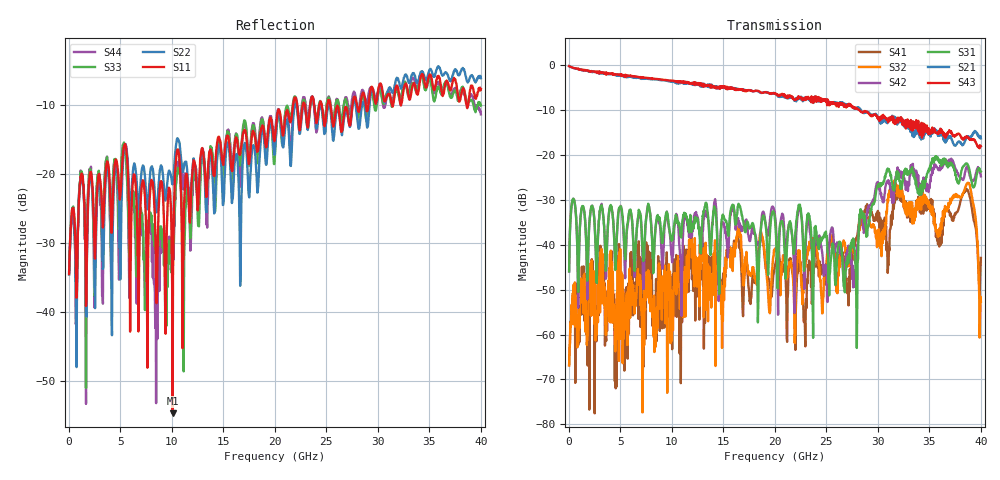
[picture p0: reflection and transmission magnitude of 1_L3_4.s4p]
! 7/15/2021 4:58:04 PM
! C:\USERS\VECTORSTARUSER\DESKTOP\SAMPLE\2021\PD7\18VPD7094DY\1-L3-4.S4P
! CHANNEL.1
! TR.MEASUREMENT
! CORRECTED.DATA
! RF.CORRECTION: FULL.FOUR.PORT.CAL.PORT.1.2.3.4
! AVERAGING.OFF
! IF.BANDWIDTH: 1KHZ
! SWEEPTYPE:  FREQ.SWEEP(Linear)
! Reference Plane Port Info
! PORT:  PORT1  PORT2  PORT3  PORT4
! DISTANCE:  0  m  0  m  0  m  0  m
! TIME:  0  s  0  s  0  s  0  s
! PHASE.OFFSET:  0 °  0 °  0 °  0 °
! LOSS:  0  dB  0  dB  0  dB  0  dB
! REF.LOSS:  0  dB  0  dB  0  dB  0  dB
! REF.FREQ:  0  Hz  0  Hz  0  Hz  0  Hz
! Power Info
! POWER:  -10  dBm  -10  dBm  -10  dBm  -10  dBm
! EFF.POWER:  -10  dBm  -10  dBm  -10  dBm  -10  dBm
# GHZ S RI R 50.0
! FREQ.GHZ  S11RE  S11IM  S12RE  S12IM  S13RE  S13IM  S14RE  S14IM
!  S21RE  S21IM  S22RE  S22IM  S23RE  S23IM  S24RE  S24IM
!  S31RE  S31IM  S32RE  S32IM  S33RE  S33IM  S34RE  S34IM
!  S41RE  S41IM  S42RE  S42IM  S43RE  S43IM  S44RE  S44IM
!; PortSelection: Port_1234
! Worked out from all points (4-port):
!   1000 points, 40 MHz to 40 GHz, reference 50 ohm
!   strongest paths, dB at 40 MHz, 10.04 GHz, 20.04 GHz, 30.04 GHz, 40 GHz:
!     S43: -0.2, -3.4, -6.2, -12.0, -18.0
!     S21: -0.2, -3.6, -6.4, -12.0, -16.3
!     S31: -45.9, -38.1, -34.9, -26.5, -23.6
!     S42: -46.0, -43.9, -33.7, -26.5, -24.7
!     S32: -66.9, -50.4, -40.9, -40.1, -52.6
!     S41: -66.8, -63.3, -44.4, -34.8, -42.9
!   lowest |S11| = -54.7 dB at 10.08 GHz (marker M1), VSWR 1.00, Z = 50 - j0.184 ohm
!   |S11| at or under -10 dB: start of sweep to 21.77 GHz; 22.17 GHz to 22.71 GHz (543.7 MHz wide, 2.42 % of centre); 25.4 GHz to 27.53 GHz (2.131 GHz wide, 8.05 % of centre)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
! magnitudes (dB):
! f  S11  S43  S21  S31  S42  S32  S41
! 40 MHz  -34.5  -0.2  -0.2  -45.9  -46.0  -66.9  -66.8
! 5.36 GHz  -16.0  -2.3  -2.6  -38.0  -39.5  -60.9  -53.0
! 10.08 GHz  -54.7  -3.4  -3.6  -38.9  -42.8  -56.8  -47.0
! 27.88 GHz  -9.3  -9.6  -9.6  -46.2  -43.7  -44.0  -38.6
! 30.96 GHz  -8.5  -11.9  -12.5  -23.0  -25.7  -29.8  -46.2
! 38.72 GHz  -10.1  -16.0  -16.1  -22.1  -22.8  -26.2  -28.0
! 40 GHz  -7.7  -18.0  -16.3  -23.6  -24.7  -52.6  -42.9
